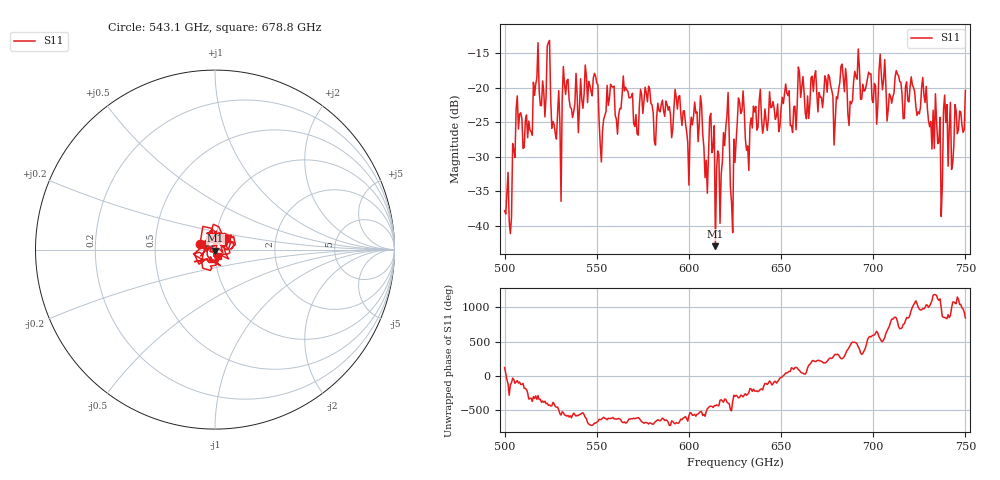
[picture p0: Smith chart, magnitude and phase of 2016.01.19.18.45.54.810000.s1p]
!Created with skrf (http://scikit-rf.org).
# GHz S RI R 50.0
!freq ReS11 ImS11
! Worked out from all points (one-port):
!   401 points, 500 GHz to 750 GHz, reference 50 ohm
!   lowest |S11| = -43.0 dB at 614.4 GHz (marker M1), VSWR 1.01, Z = 50.2 - j0.684 ohm
!   |S11| at or under -10 dB: start of sweep to end of sweep
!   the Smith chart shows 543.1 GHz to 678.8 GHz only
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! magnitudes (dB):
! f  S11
! 500 GHz  -37.8
! 503.8 GHz  -38.7
! 507.5 GHz  -26.0
! 513.8 GHz  -26.1
! 516.9 GHz  -19.5
! 531.2 GHz  -21.7
! 549.4 GHz  -18.4
! 552.5 GHz  -30.8
! 558.1 GHz  -19.8
! 562.5 GHz  -23.0
! 593.8 GHz  -23.1
! 614.4 GHz  -43.0
! 620 GHz  -25.7
! 623.8 GHz  -41.0
! 625 GHz  -30.8
! 628.1 GHz  -23.7
! 631.9 GHz  -28.4
! 653.1 GHz  -20.8
! 656.2 GHz  -26.5
! 660.6 GHz  -21.4
! 679.4 GHz  -24.8
! 683.8 GHz  -18.5
! 687.5 GHz  -22.0
! 691.2 GHz  -18.8
! 718.8 GHz  -21.9
! 727.5 GHz  -21.1
! 736.2 GHz  -24.3
! 750 GHz  -20.4
